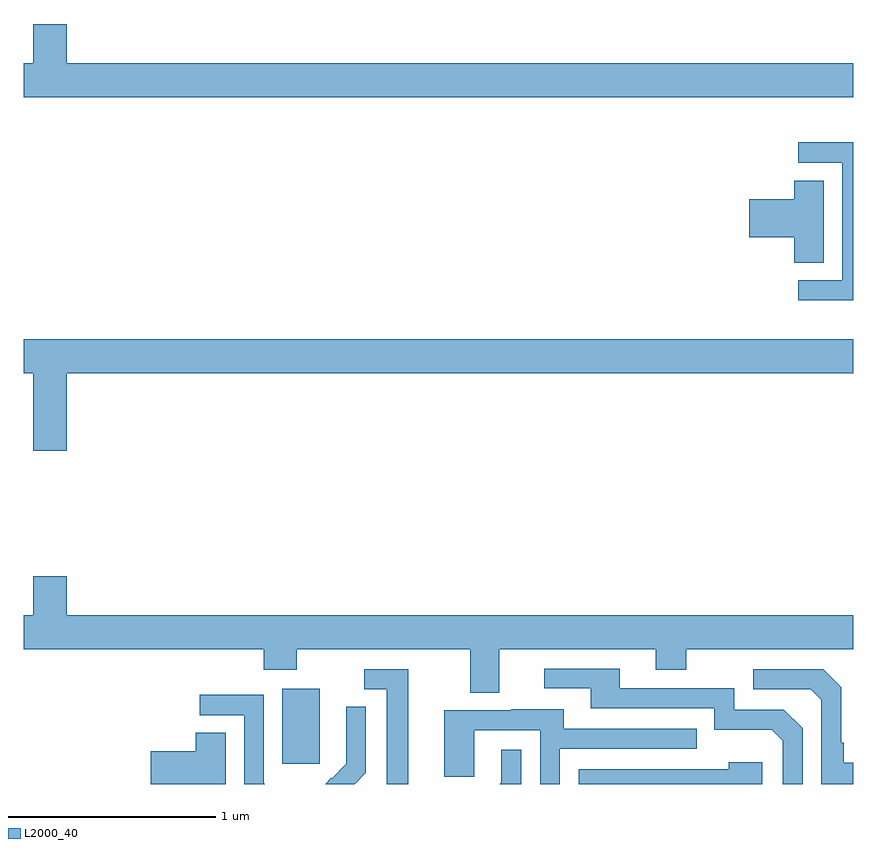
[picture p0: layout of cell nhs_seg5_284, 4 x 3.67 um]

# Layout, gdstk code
import gdstk
lib = gdstk.Library(unit=1e-6, precision=1e-09)
def R(c, l, rs):  # rectangles x0, y0, x1, y1
    for r in rs: c.add(gdstk.rectangle(r[:2], r[2:], *l))
def P(c, l, *ps):  # polygons
    for p in ps: c.add(gdstk.Polygon(p, *l))
L2000_40 = (2000, 40)

nhs_seg5_284 = lib.new_cell('nhs_seg5_284')
R(nhs_seg5_284, L2000_40, [(130.247,834.897,130.426,835.258)])
P(nhs_seg5_284, L2000_40, [(133,838.276),(129.208,838.276),(129.208,838.465),(129.044,838.465),(129.044,838.276),(129,838.276),(129,838.112),(133,838.112)],
  [(133,837.894),(132.735,837.894),(132.735,837.795),(132.948,837.795),(132.948,837.228),(132.735,837.228),(132.735,837.132),(133,837.132)],
  [(132.859,837.71),(132.716,837.71),(132.716,837.62),(132.498,837.62),(132.498,837.437),(132.716,837.437),(132.716,837.313),(132.859,837.313)],
  [(129.208,836.78),(133,836.78),(133,836.944),(129,836.944),(129,836.78),(129.044,836.78),(129.044,836.406),(129.208,836.406)],
  [(131.293,835.448),(132.047,835.448),(132.047,835.349),(132.195,835.349),(132.195,835.448),(133,835.448),(133,835.612),(129.208,835.612),(129.208,835.801),(129.044,835.801),(129.044,835.612),(129,835.612),(129,835.448),(130.157,835.448),(130.157,835.349),(130.317,835.349),(130.317,835.448),(131.153,835.448),(131.153,835.24),(131.293,835.24)],
  [(132.756,835.068),(132.666,835.158),(132.426,835.158),(132.426,835.26),(131.875,835.26),(131.875,835.356),(131.511,835.356),(131.511,835.26),(131.735,835.26),(131.735,835.164),(132.33,835.164),(132.33,835.061),(132.607,835.061),(132.66,835.008),(132.66,834.799),(132.756,834.799)],
  [(130.855,835.353),(130.641,835.353),(130.641,835.257),(130.751,835.257),(130.751,834.799),(130.855,834.799)],
  [(133,834.901),(132.955,834.901),(132.955,834.997),(132.942,834.997),(132.942,835.266),(132.855,835.353),(132.519,835.353),(132.519,835.257),(132.795,835.257),(132.846,835.206),(132.846,834.799),(133,834.799)],
  [(130.161,834.8),(130.158,834.8),(130.158,835.23),(129.849,835.23),(129.849,835.131),(130.062,835.131),(130.062,834.799),(130.161,834.799)],
  [(130.65,834.854),(130.65,835.172),(130.554,835.172),(130.554,835.018),(130.556,835.018),(130.556,834.896),(130.485,834.825),(130.482,834.828),(130.453,834.799),(130.595,834.799)],
  [(131.586,834.969),(132.245,834.969),(132.245,835.065),(131.605,835.065),(131.605,835.159),(131.351,835.159),(131.351,835.155),(131.027,835.155),(131.027,834.835),(131.172,834.835),(131.172,835.059),(131.49,835.059),(131.49,834.799),(131.586,834.799)],
  [(129.973,835.046),(129.83,835.046),(129.83,834.956),(129.612,834.956),(129.612,834.799),(129.973,834.799)],
  [(131.4,834.964),(131.303,834.964),(131.303,834.807),(131.295,834.799),(131.4,834.799)],
  [(132.562,834.904),(132.401,834.904),(132.401,834.87),(131.676,834.87),(131.676,834.799),(132.562,834.799)])

lib.write_gds('nhs_seg5_284.gds')
